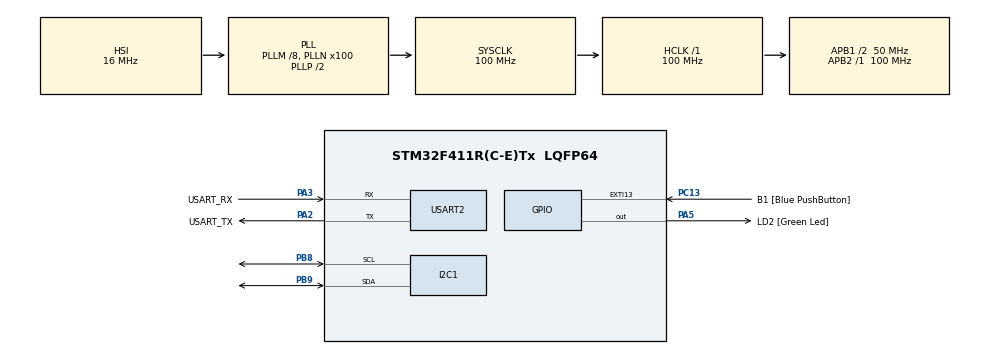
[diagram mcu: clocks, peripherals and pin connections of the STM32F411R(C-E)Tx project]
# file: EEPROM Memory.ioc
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Dma.I2C1_RX.0.Direction=DMA_PERIPH_TO_MEMORY
Dma.I2C1_RX.0.FIFOMode=DMA_FIFOMODE_DISABLE
Dma.I2C1_RX.0.Instance=DMA1_Stream0
Dma.I2C1_RX.0.MemDataAlignment=DMA_MDATAALIGN_BYTE
Dma.I2C1_RX.0.MemInc=DMA_MINC_ENABLE
Dma.I2C1_RX.0.Mode=DMA_NORMAL
Dma.I2C1_RX.0.PeriphDataAlignment=DMA_PDATAALIGN_BYTE
Dma.I2C1_RX.0.PeriphInc=DMA_PINC_DISABLE
Dma.I2C1_RX.0.Priority=DMA_PRIORITY_VERY_HIGH
Dma.I2C1_TX.1.Direction=DMA_MEMORY_TO_PERIPH
Dma.I2C1_TX.1.FIFOMode=DMA_FIFOMODE_DISABLE
Dma.I2C1_TX.1.Instance=DMA1_Stream1
Dma.I2C1_TX.1.MemDataAlignment=DMA_MDATAALIGN_BYTE
Dma.I2C1_TX.1.MemInc=DMA_MINC_ENABLE
Dma.I2C1_TX.1.Mode=DMA_NORMAL
Dma.I2C1_TX.1.PeriphDataAlignment=DMA_PDATAALIGN_BYTE
Dma.I2C1_TX.1.PeriphInc=DMA_PINC_DISABLE
Dma.I2C1_TX.1.Priority=DMA_PRIORITY_VERY_HIGH
Dma.Request0=I2C1_RX
Dma.Request1=I2C1_TX
I2C1.I2C_Mode=I2C_Fast
Mcu.Family=STM32F4
Mcu.Name=STM32F411R(C-E)Tx
Mcu.Package=LQFP64
NVIC.DMA1_Stream0_IRQn=true\:0\:0\:false\:false\:true\:false\:true
NVIC.DMA1_Stream1_IRQn=true\:0\:0\:false\:false\:true\:false\:true
NVIC.I2C1_ER_IRQn=true\:0\:0\:false\:false\:true\:true\:true
NVIC.I2C1_EV_IRQn=true\:0\:0\:false\:false\:true\:true\:true
NVIC.PriorityGroup=NVIC_PRIORITYGROUP_0
PA2.GPIO_Label=USART_TX
PA2.Mode=Asynchronous
PA2.Signal=USART2_TX
PA3.GPIO_Label=USART_RX
PA3.Mode=Asynchronous
PA3.Signal=USART2_RX
PA5.GPIO_Label=LD2 [Green Led]
PA5.Signal=GPIO_Output
PB8.Mode=I2C
PB8.Signal=I2C1_SCL
PB9.Mode=I2C
PB9.Signal=I2C1_SDA
PC13-ANTI_TAMP.GPIO_Label=B1 [Blue PushButton]
PC13-ANTI_TAMP.GPIO_ModeDefaultEXTI=GPIO_MODE_IT_FALLING
PC13-ANTI_TAMP.Signal=GPXTI13
ProjectManager.HeapSize=0x200
ProjectManager.StackSize=0x400
ProjectManager.TargetToolchain=TrueSTUDIO
RCC.48MHZClocksFreq_Value=50000000
RCC.AHBFreq_Value=100000000
RCC.APB1CLKDivider=RCC_HCLK_DIV2
RCC.APB1Freq_Value=50000000
RCC.APB1TimFreq_Value=100000000
RCC.APB2Freq_Value=100000000
RCC.APB2TimFreq_Value=100000000
RCC.CortexFreq_Value=100000000
RCC.FLatency-AdvancedSettings=FLASH_LATENCY_3
RCC.HCLKFreq_Value=100000000
RCC.HSE_VALUE=8000000
RCC.HSI_VALUE=16000000
RCC.LSE_VALUE=32768
RCC.PLLM=8
RCC.PLLN=100
RCC.SYSCLKFreq_VALUE=100000000
RCC.SYSCLKSource=RCC_SYSCLKSOURCE_PLLCLK
RCC.VCOOutputFreq_Value=200000000
USART2.VirtualMode=VM_ASYNC
board=NUCLEO-F411RE

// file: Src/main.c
/* USER CODE BEGIN Header */
/**
 ******************************************************************************
 * @file           : main.c
 * @brief          : Main program body
 ******************************************************************************
 * @attention
 *
 *Copyright 2019 SimpleMethod
 *
 *Permission is hereby granted, free of charge, to any person obtaining a copy of
 *this software and associated documentation files (the "Software"), to deal in
 *the Software without restriction, including without limitation the rights to
 *use, copy, modify, merge, publish, distribute, sublicense, and/or sell copies
 *of the Software, and to permit persons to whom the Software is furnished to do
 *so, subject to the following conditions:
 *
 *The above copyright notice and this permission notice shall be included in all
 *copies or substantial portions of the Software.
 *
 *THE SOFTWARE IS PROVIDED "AS IS", WITHOUT WARRANTY OF ANY KIND, EXPRESS OR
 *IMPLIED, INCLUDING BUT NOT LIMITED TO THE WARRANTIES OF MERCHANTABILITY,
 *FITNESS FOR A PARTICULAR PURPOSE AND NONINFRINGEMENT. IN NO EVENT SHALL THE
 *AUTHORS OR COPYRIGHT HOLDERS BE LIABLE FOR ANY CLAIM, DAMAGES OR OTHER
 *LIABILITY, WHETHER IN AN ACTION OF CONTRACT, TORT OR OTHERWISE, ARISING FROM,
 *OUT OF OR IN CONNECTION WITH THE SOFTWARE OR THE USE OR OTHER DEALINGS IN
 *THE SOFTWARE.
 ******************************************************************************
 */
/* USER CODE END Header */

#include "main.h"

/* USER CODE BEGIN Includes */
#include <stdio.h>
#include <stdarg.h>
#include <string.h>
#include "eeprom.h"
/* USER CODE END Includes */

I2C_HandleTypeDef hi2c1;
DMA_HandleTypeDef hdma_i2c1_rx;
DMA_HandleTypeDef hdma_i2c1_tx;

UART_HandleTypeDef huart2;

void SystemClock_Config(void);
static void MX_GPIO_Init(void);
static void MX_DMA_Init(void);
static void MX_USART2_UART_Init(void);
static void MX_I2C1_Init(void);

/* USER CODE BEGIN 0 */

void vprint(const char *fmt, va_list argp) {
	char string[200];
	if (0 < vsprintf(string, fmt, argp)) // build string
			{
		HAL_UART_Transmit(&huart2, (uint8_t*) string, strlen(string), 0xffffff); // send message via UART
	}
}

void my_printf(const char *fmt, ...) // custom printf() function
{
	va_list argp;
	va_start(argp, fmt);
	vprint(fmt, argp);
	va_end(argp);
}

/* USER CODE END 0 */

int main(void)
{

  /* MCU Configuration--------------------------------------------------------*/

  /* Reset of all peripherals, Initializes the Flash interface and the Systick. */
  HAL_Init();

  /* Configure the system clock */
  SystemClock_Config();

  /* Initialize all configured peripherals */
  MX_GPIO_Init();
  MX_DMA_Init();
  MX_USART2_UART_Init();
  MX_I2C1_Init();
  /* USER CODE BEGIN 2 */

	char memory_dump[1024] = {0}; //8kbit
	char example_1 = *"T";
	char example_2[] ="9A8B7C6D5E4F3G2H1I0J...............................................................................0...................................................................................................1...................................................................................................2...................................................................................................3...................................................................................................4...................................................................................................5...................................................................................................6...................................................................................................7...................................................................................................8...................................................................................................9.....................END";
	EEprom_HandleTypeDef EEprom_;

	uint16_t write_address[] = { 0xA0, 0xA2, 0xA4, 0xA6 };

	uint16_t read_address[] = { 0xA1, 0xA3, 0xA5, 0xA7 };

	EEprom_ = eeprom_init(&hi2c1, write_address, read_address,I2C_MEMADD_SIZE_8BIT, 256);

	eeprom_write(&EEprom_, 0, 0x00, (uint8_t*) &example_1,sizeof(example_1));

	eeprom_write_pages(&EEprom_, (uint8_t*) &example_2,sizeof(example_2));

	HAL_Delay(10);
	eeprom_read(&EEprom_, 0, 0x00, (uint8_t*) &memory_dump,sizeof(memory_dump));
	HAL_Delay(10);
	HAL_UART_Transmit(&huart2, (uint8_t*) &memory_dump, sizeof(memory_dump),0xffffff);

  /* USER CODE END 2 */

  /* Infinite loop */
	while (1) {

	}
}

void SystemClock_Config(void)
{
  RCC_OscInitTypeDef RCC_OscInitStruct = {0};
  RCC_ClkInitTypeDef RCC_ClkInitStruct = {0};

  /** Configure the main internal regulator output voltage
  */
  __HAL_RCC_PWR_CLK_ENABLE();
  __HAL_PWR_VOLTAGESCALING_CONFIG(PWR_REGULATOR_VOLTAGE_SCALE1);
  /** Initializes the CPU, AHB and APB busses clocks
  */
  RCC_OscInitStruct.OscillatorType = RCC_OSCILLATORTYPE_HSI;
  RCC_OscInitStruct.HSIState = RCC_HSI_ON;
  RCC_OscInitStruct.HSICalibrationValue = RCC_HSICALIBRATION_DEFAULT;
  RCC_OscInitStruct.PLL.PLLState = RCC_PLL_ON;
  RCC_OscInitStruct.PLL.PLLSource = RCC_PLLSOURCE_HSI;
  RCC_OscInitStruct.PLL.PLLM = 8;
  RCC_OscInitStruct.PLL.PLLN = 100;
  RCC_OscInitStruct.PLL.PLLP = RCC_PLLP_DIV2;
  RCC_OscInitStruct.PLL.PLLQ = 4;
  if (HAL_RCC_OscConfig(&RCC_OscInitStruct) != HAL_OK)
  {
    Error_Handler();
  }
  /** Initializes the CPU, AHB and APB busses clocks
  */
  RCC_ClkInitStruct.ClockType = RCC_CLOCKTYPE_HCLK|RCC_CLOCKTYPE_SYSCLK
                              |RCC_CLOCKTYPE_PCLK1|RCC_CLOCKTYPE_PCLK2;
  RCC_ClkInitStruct.SYSCLKSource = RCC_SYSCLKSOURCE_PLLCLK;
  RCC_ClkInitStruct.AHBCLKDivider = RCC_SYSCLK_DIV1;
  RCC_ClkInitStruct.APB1CLKDivider = RCC_HCLK_DIV2;
  RCC_ClkInitStruct.APB2CLKDivider = RCC_HCLK_DIV1;

  if (HAL_RCC_ClockConfig(&RCC_ClkInitStruct, FLASH_LATENCY_3) != HAL_OK)
  {
    Error_Handler();
  }
}

static void MX_I2C1_Init(void)
{

  hi2c1.Instance = I2C1;
  hi2c1.Init.ClockSpeed = 400000;
  hi2c1.Init.DutyCycle = I2C_DUTYCYCLE_2;
  hi2c1.Init.OwnAddress1 = 0;
  hi2c1.Init.AddressingMode = I2C_ADDRESSINGMODE_7BIT;
  hi2c1.Init.DualAddressMode = I2C_DUALADDRESS_DISABLE;
  hi2c1.Init.OwnAddress2 = 0;
  hi2c1.Init.GeneralCallMode = I2C_GENERALCALL_DISABLE;
  hi2c1.Init.NoStretchMode = I2C_NOSTRETCH_DISABLE;
  if (HAL_I2C_Init(&hi2c1) != HAL_OK)
  {
    Error_Handler();
  }

}

static void MX_USART2_UART_Init(void)
{

  huart2.Instance = USART2;
  huart2.Init.BaudRate = 115200;
  huart2.Init.WordLength = UART_WORDLENGTH_8B;
  huart2.Init.StopBits = UART_STOPBITS_1;
  huart2.Init.Parity = UART_PARITY_NONE;
  huart2.Init.Mode = UART_MODE_TX_RX;
  huart2.Init.HwFlowCtl = UART_HWCONTROL_NONE;
  huart2.Init.OverSampling = UART_OVERSAMPLING_16;
  if (HAL_UART_Init(&huart2) != HAL_OK)
  {
    Error_Handler();
  }

}

static void MX_DMA_Init(void)
{
  /* DMA controller clock enable */
  __HAL_RCC_DMA1_CLK_ENABLE();

  /* DMA interrupt init */
  /* DMA1_Stream0_IRQn interrupt configuration */
  HAL_NVIC_SetPriority(DMA1_Stream0_IRQn, 0, 0);
  HAL_NVIC_EnableIRQ(DMA1_Stream0_IRQn);
  /* DMA1_Stream1_IRQn interrupt configuration */
  HAL_NVIC_SetPriority(DMA1_Stream1_IRQn, 0, 0);
  HAL_NVIC_EnableIRQ(DMA1_Stream1_IRQn);

}

static void MX_GPIO_Init(void)
{
  GPIO_InitTypeDef GPIO_InitStruct = {0};

  /* GPIO Ports Clock Enable */
  __HAL_RCC_GPIOC_CLK_ENABLE();
  __HAL_RCC_GPIOA_CLK_ENABLE();
  __HAL_RCC_GPIOB_CLK_ENABLE();

  /*Configure GPIO pin Output Level */
  HAL_GPIO_WritePin(LD2_GPIO_Port, LD2_Pin, GPIO_PIN_RESET);

  /*Configure GPIO pin : B1_Pin */
  GPIO_InitStruct.Pin = B1_Pin;
  GPIO_InitStruct.Mode = GPIO_MODE_IT_FALLING;
  GPIO_InitStruct.Pull = GPIO_NOPULL;
  HAL_GPIO_Init(B1_GPIO_Port, &GPIO_InitStruct);

  /*Configure GPIO pin : LD2_Pin */
  GPIO_InitStruct.Pin = LD2_Pin;
  GPIO_InitStruct.Mode = GPIO_MODE_OUTPUT_PP;
  GPIO_InitStruct.Pull = GPIO_NOPULL;
  GPIO_InitStruct.Speed = GPIO_SPEED_FREQ_LOW;
  HAL_GPIO_Init(LD2_GPIO_Port, &GPIO_InitStruct);

}

/* USER CODE BEGIN 4 */
void HAL_I2C_MemTxCpltCallback(I2C_HandleTypeDef *hi2c) {
//	my_printf("HAL_I2C_MemTxCpltCallback");

}
void HAL_I2C_MemRxCpltCallback(I2C_HandleTypeDef *hi2c) {
//	my_printf("HAL_I2C_MemRxCpltCallback");
}

/* USER CODE END 4 */

void Error_Handler(void)
{
}
